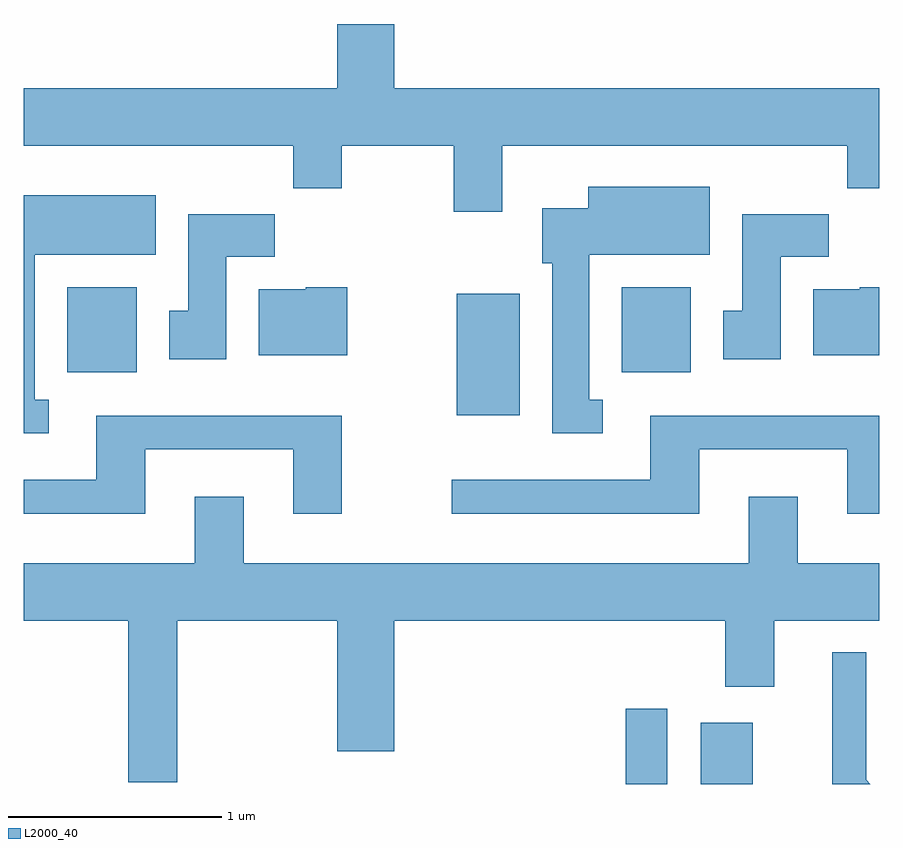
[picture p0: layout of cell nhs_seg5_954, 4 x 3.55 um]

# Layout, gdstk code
import gdstk
lib = gdstk.Library(unit=1e-6, precision=1e-09)
def R(c, l, rs):  # rectangles x0, y0, x1, y1
    for r in rs: c.add(gdstk.rectangle(r[:2], r[2:], *l))
def P(c, l, *ps):  # polygons
    for p in ps: c.add(gdstk.Polygon(p, *l))
L2000_40 = (2000, 40)

nhs_seg5_954 = lib.new_cell('nhs_seg5_954')
R(nhs_seg5_954, L2000_40, [(216.426,1416.072,216.619,1416.424), (216.776,1416.072,217.019,1416.359), (215.636,1417.796,215.929,1418.364), (213.816,1417.996,214.139,1418.394), (216.406,1417.996,216.729,1418.394)])
P(nhs_seg5_954, L2000_40, [(215.849,1419.056),(217.461,1419.056),(217.461,1418.856),(217.611,1418.856),(217.611,1419.324),(215.344,1419.324),(215.344,1419.624),(215.076,1419.624),(215.076,1419.324),(213.611,1419.324),(213.611,1419.056),(214.871,1419.056),(214.871,1418.856),(215.099,1418.856),(215.099,1419.056),(215.621,1419.056),(215.621,1418.746),(215.849,1418.746)],
  [(216.318,1417.869),(216.254,1417.869),(216.254,1418.546),(216.819,1418.546),(216.819,1418.864),(216.251,1418.864),(216.251,1418.764),(216.036,1418.764),(216.036,1418.506),(216.081,1418.506),(216.081,1417.711),(216.318,1417.711)],
  [(213.728,1417.869),(213.664,1417.869),(213.664,1418.546),(214.229,1418.546),(214.229,1418.824),(213.611,1418.824),(213.611,1417.711),(213.728,1417.711)],
  [(217.149,1418.536),(217.374,1418.536),(217.374,1418.734),(216.971,1418.734),(216.971,1418.284),(216.881,1418.284),(216.881,1418.056),(217.149,1418.056)],
  [(214.559,1418.536),(214.784,1418.536),(214.784,1418.734),(214.381,1418.734),(214.381,1418.284),(214.291,1418.284),(214.291,1418.056),(214.559,1418.056)],
  [(217.611,1418.394),(217.52,1418.394),(217.52,1418.384),(217.301,1418.384),(217.301,1418.076),(217.611,1418.076)],
  [(215.124,1418.394),(214.93,1418.394),(214.93,1418.384),(214.711,1418.384),(214.711,1418.076),(215.124,1418.076)],
  [(214.179,1417.636),(214.871,1417.636),(214.871,1417.336),(215.099,1417.336),(215.099,1417.794),(213.951,1417.794),(213.951,1417.494),(213.611,1417.494),(213.611,1417.336),(214.179,1417.336)],
  [(216.769,1417.636),(217.461,1417.636),(217.461,1417.336),(217.611,1417.336),(217.611,1417.794),(216.541,1417.794),(216.541,1417.494),(215.613,1417.494),(215.613,1417.336),(216.769,1417.336)],
  [(214.329,1416.836),(215.076,1416.836),(215.076,1416.226),(215.344,1416.226),(215.344,1416.836),(216.891,1416.836),(216.891,1416.526),(217.119,1416.526),(217.119,1416.836),(217.611,1416.836),(217.611,1417.104),(217.229,1417.104),(217.229,1417.414),(217.001,1417.414),(217.001,1417.104),(214.639,1417.104),(214.639,1417.414),(214.411,1417.414),(214.411,1417.104),(213.611,1417.104),(213.611,1416.836),(214.101,1416.836),(214.101,1416.081),(214.329,1416.081)],
  [(217.549,1416.092),(217.549,1416.688),(217.391,1416.688),(217.391,1416.072),(217.569,1416.072)])

lib.write_gds('nhs_seg5_954.gds')
